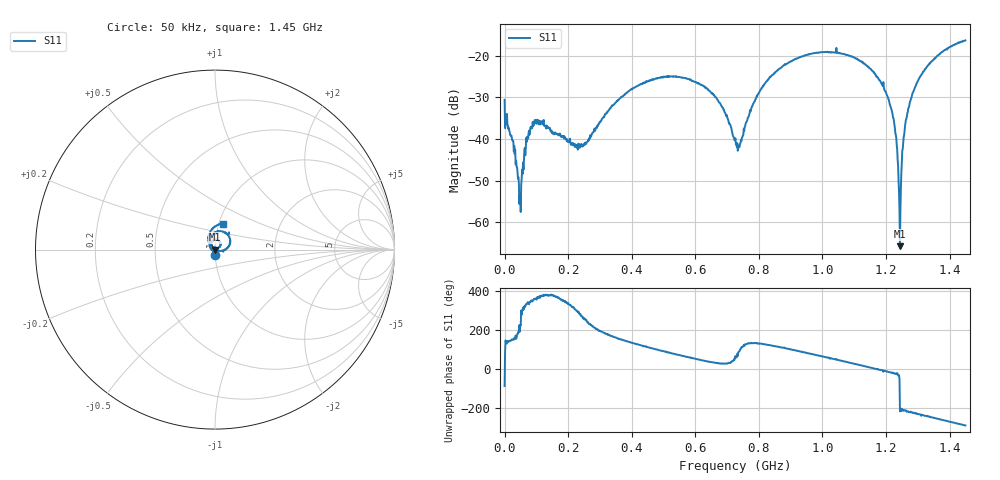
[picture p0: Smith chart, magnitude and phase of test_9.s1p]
! Created with skrf 1.11.0 (http://scikit-rf.org).
# Hz S RI R 50.0
!freq ReS11 ImS11
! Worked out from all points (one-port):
!   1001 points, 50 kHz to 1.45 GHz, reference 50 ohm
!   lowest |S11| = -65.8 dB at 1.244 GHz (marker M1), VSWR 1.00, Z = 50 + j0.0301 ohm
!   |S11| at or under -10 dB: start of sweep to end of sweep
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50000  0.00151 -0.0295
2.61491e7  -0.00811 0.00502
4.789835e7  -0.00211 -0.000385
5.369815e7  0.000384 -0.00331
6.96476e7  0.00813 -0.00432
8.849695e7  0.0155 -0.00382
1.812938e8  0.0106 -0.00218
2.523413e8  -0.00252 -0.00859
3.625375e8  -0.027 0.0142
5.437812e8  0.0159 0.053
6.612272e8  0.0277 0.0169
7.25025e8  0.00445 0.00876
7.409744e8  -0.00104 0.00868
7.786732e8  -0.0167 0.0183
8.163718e8  -0.0264 0.036
9.062688e8  -0.0113 0.0868
1.087512e9  0.0852 0.0515
1.15711e9  0.0654 0.00569
1.199159e9  0.0361 -0.00726
1.225258e9  0.015 -0.006
1.232508e9  0.00945 -0.00411
1.239757e9  0.00257 -0.00176
1.244107e9  -0.000417 0.000301
1.249907e9  -0.00475 0.00193
1.257157e9  -0.00961 0.00544
1.268756e9  -0.0169 0.0124
1.329654e9  -0.0356 0.065
1.45e9  0.0467 0.1449
